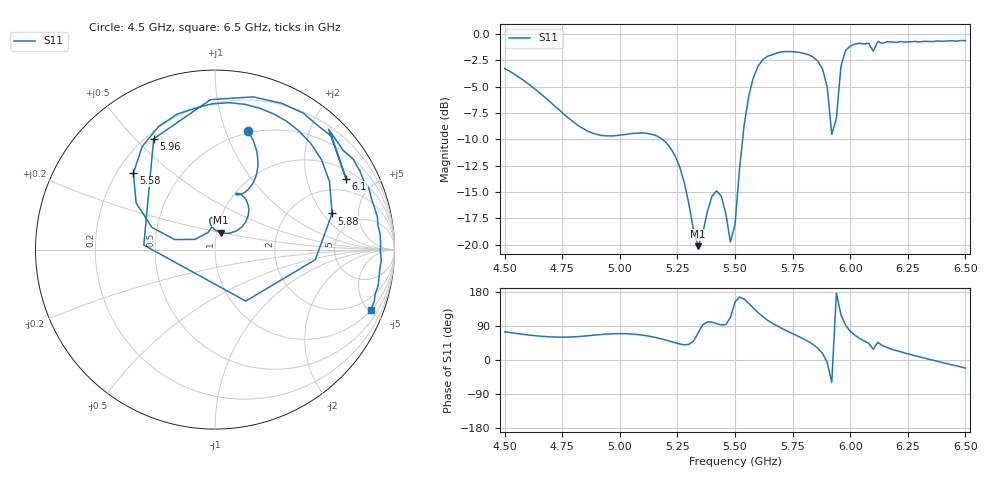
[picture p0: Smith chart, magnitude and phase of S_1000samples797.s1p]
! TOUCHSTONE file generated by CST MICROWAVE STUDIO
! Date and time: Sat Oct 29 10:26:23 2022
! Project name: L.cst
! Parameters = {Di=1.27; Epsilon_r=1.56; InnerDiameter=1.27; Length=2; Lf=10; Lg=60; OuterConductorThickness=0.2921; OuterDiameter=3.6; Wf=3; Wp=41.2; de=1.5; df=6.8; g=0.8; gx=2.00591; gy=3.65966; h=2.34; hf=1.524; px=14.7727; py=10.6975; w=9.7; wx=12.7668; wy=7.03783}
! Header version: 2018
! Port assignment regex: !\s*Touchstone port\s*([0-9]+)\s*=\s*(CST MWS port|CST DS port)\s*([0-9]+|Zmin|Zmax)\s*\(\"(.*)\"\)(\s*mode\s*([0-9]+))?.*
! Touchstone port assignment:
! Touchstone port 1 = CST MWS port 1 ("")
# GHz S DB R 50
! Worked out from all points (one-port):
!   101 points, 4.5 GHz to 6.5 GHz, reference 50 ohm
!   lowest |S11| = -20.1 dB at 5.34 GHz (marker M1), VSWR 1.22, Z = 52.2 + j9.86 ohm
!   |S11| at or under -10 dB: 5.184 GHz to 5.533 GHz (348.8 MHz wide, 6.51 % of centre)
!   S11 on the Smith chart (normalised r, x): 4.5 GHz: 0.48, +1.20; 5.58 GHz: 0.27, +0.37; 5.88 GHz: 3.31, +2.50; 5.96 GHz: 0.23, +0.57; 6.1 GHz: 1.37, +3.46; 6.5 GHz: 1.00, -5.12
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4.5  -3.27 74.4
4.76  -7.65 60.3
5  -9.59 69.6
5.16  -9.66 58.7
5.26  -12.62 42.3
5.34  -20.13 71.6
5.42  -14.88 96.1
5.48  -19.74 111.8
5.5  -18.08 152.8
5.54  -8.59 160.7
5.58  -4.11 136.9
5.64  -2.11 105.4
5.7  -1.70 84.6
5.76  -1.68 66.7
5.84  -2.20 40.3
5.88  -3.31 17.1
5.9  -5.01 -5.7
5.92  -9.52 -59.1
5.94  -8.02 176.4
5.96  -3.03 119.0
5.98  -1.56 91.7
6  -1.14 75.9
6.08  -0.86 44.1
6.1  -1.62 28.3
6.12  -0.71 46.6
6.18  -0.74 28.4
6.26  -0.74 15.0
6.5  -0.62 -21.3
